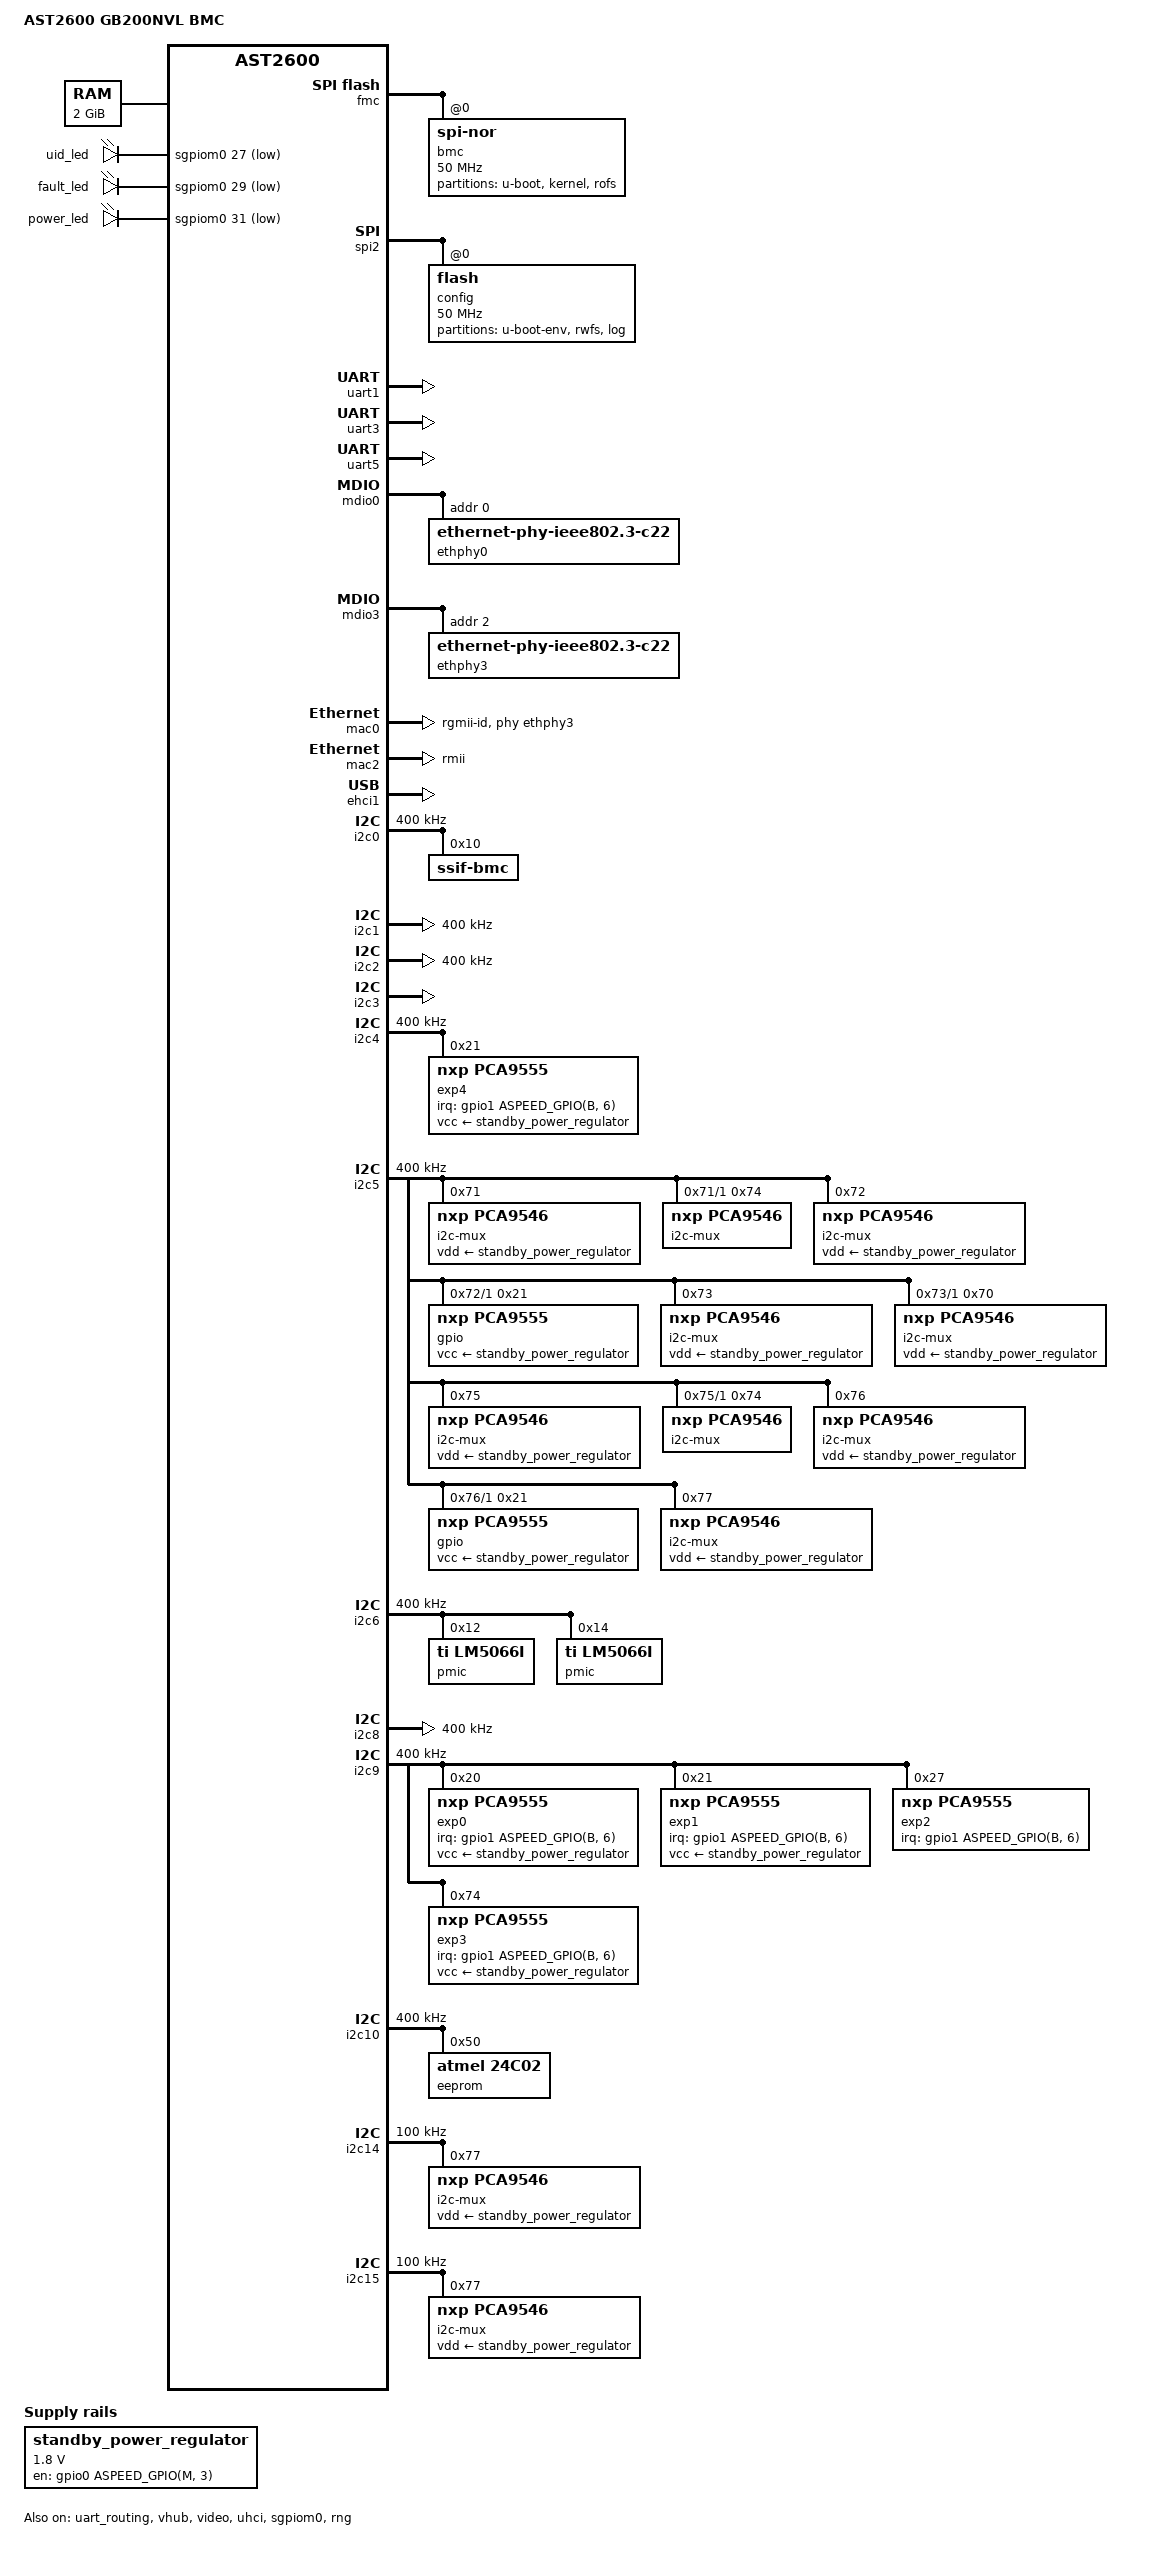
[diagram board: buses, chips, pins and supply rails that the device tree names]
// SPDX-License-Identifier: GPL-2.0+
/dts-v1/;

#include "aspeed-g6.dtsi"
#include <dt-bindings/i2c/i2c.h>
#include <dt-bindings/gpio/aspeed-gpio.h>
#include <dt-bindings/leds/common.h>

/ {
	model = "AST2600 GB200NVL BMC";
	compatible = "nvidia,gb200nvl-bmc", "aspeed,ast2600";

	aliases {
		serial2 = &uart3;
		serial4 = &uart5;
		i2c16   = &imux16;
		i2c17   = &imux17;
		i2c18   = &imux18;
		i2c19   = &imux19;
		i2c20   = &imux20;
		i2c21   = &imux21;
		i2c22   = &imux22;
		i2c23   = &imux23;
		i2c24   = &imux24;
		i2c25   = &imux25;
		i2c26   = &imux26;
		i2c27   = &imux27;
		i2c28   = &imux28;
		i2c29   = &imux29;
		i2c30   = &imux30;
		i2c31   = &imux31;
		i2c32   = &imux32;
		i2c33   = &imux33;
		i2c34   = &imux34;
		i2c35   = &imux35;
		i2c36   = &imux36;
		i2c37   = &imux37;
		i2c38   = &imux38;
		i2c39   = &imux39;
		i2c40	= &e1si2c0;
		i2c41	= &e1si2c1;
		i2c42	= &e1si2c2;
		i2c43	= &e1si2c3;
		i2c44	= &e1si2c4;
		i2c45	= &e1si2c5;
		i2c46	= &e1si2c6;
		i2c47	= &e1si2c7;
		i2c48	= &i2c17mux0;
		i2c49	= &i2c17mux1;
		i2c50	= &i2c17mux2;
		i2c51	= &i2c17mux3;
		i2c52	= &i2c25mux0;
		i2c53	= &i2c25mux1;
		i2c54	= &i2c25mux2;
		i2c55	= &i2c25mux3;
		i2c56	= &i2c29mux0;
		i2c57	= &i2c29mux1;
		i2c58	= &i2c29mux2;
		i2c59	= &i2c29mux3;
	};

	chosen {
		stdout-path = &uart5;
	};

	memory@80000000 {
		device_type = "memory";
		reg = <0x80000000 0x80000000>;
	};

	reserved-memory {
		#address-cells = <1>;
		#size-cells = <1>;
		ranges;

		vga_memory: framebuffer@9f000000 {
			no-map;
			reg = <0x9f000000 0x01000000>; /* 16M */
		};

		ramoops@a0000000 {
			compatible = "ramoops";
			reg = <0xa0000000 0x100000>; /* 1MB */
			record-size = <0x10000>; /* 64KB */
			max-reason = <2>; /* KMSG_DUMP_OOPS */
		};

		gfx_memory: framebuffer {
			size = <0x01000000>;
			alignment = <0x01000000>;
			compatible = "shared-dma-pool";
			reusable;
		};

		video_engine_memory: jpegbuffer {
			size = <0x02000000>;	/* 32M */
			alignment = <0x01000000>;
			compatible = "shared-dma-pool";
			reusable;
		};
	};

	leds {
		compatible = "gpio-leds";
		led-0 {
			label = "uid_led";
			gpios = <&sgpiom0 27 GPIO_ACTIVE_LOW>;
		};
		led-1 {
			label = "fault_led";
			gpios = <&sgpiom0 29 GPIO_ACTIVE_LOW>;
		};
		led-2 {
			label = "power_led";
			gpios = <&sgpiom0 31 GPIO_ACTIVE_LOW>;
		};
	};

	buttons {
		button-power {
			label = "power-btn";
			gpio = <&sgpiom0 156 GPIO_ACTIVE_LOW>;
		};
		button-uid {
			label = "uid-btn";
			gpio = <&sgpiom0 154 GPIO_ACTIVE_LOW>;
		};
	};

	standby_power_regulator: standby-power-regulator {
		status = "okay";
		compatible = "regulator-fixed";
		regulator-name = "standby_power";
		gpio = <&gpio0 ASPEED_GPIO(M, 3) GPIO_ACTIVE_HIGH>;
		regulator-min-microvolt = <1800000>;
		regulator-max-microvolt = <1800000>;
		enable-active-high;
		regulator-always-on;
	};
};

// Enable Primary flash on FMC for bring up activity
&fmc {
	status = "okay";
	flash@0 {
		status = "okay";
		compatible = "jedec,spi-nor";
		label = "bmc";
		spi-max-frequency = <50000000>;
		partitions {
			compatible = "fixed-partitions";
			#address-cells = <1>;
			#size-cells = <1>;

			u-boot@0 {
				// 896KB
				reg = <0x0 0xe0000>;
				label = "u-boot";
			};

			kernel@100000 {
				// 9MB
				reg = <0x100000 0x900000>;
				label = "kernel";
			};

			rofs@a00000 {
				// 55292KB (extends to end of 64MB SPI - 4KB)
				reg = <0xa00000 0x35FF000>;
				label = "rofs";
			};
		};
	};
};

&spi2 {
	status = "okay";
	pinctrl-names = "default";
	pinctrl-0 = <&pinctrl_spi2_default>;

	// Data SPI is 64MB in size
	flash@0 {
		status = "okay";
		label = "config";
		spi-max-frequency = <50000000>;
		partitions {
			compatible = "fixed-partitions";
			#address-cells = <1>;
			#size-cells = <1>;

			u-boot-env@0 {
				// 256KB
				reg = <0x0 0x40000>;
				label = "u-boot-env";
			};

			rwfs@40000 {
				// 16MB
				reg = <0x40000 0x1000000>;
				label = "rwfs";
			};

			log@1040000 {
				// 40MB
				reg = <0x1040000 0x2800000>;
				label = "log";
			};
		};
	};
};

&uart1 {
	status = "okay";
};

&uart3 {
	// Enabling SOL
	status = "okay";
};

&uart5 {
	// BMC Debug Console
	status = "okay";
};

&uart_routing {
	status = "okay";
};

&mdio0 {
	status = "okay";
	ethphy0: ethernet-phy@0 {
		compatible = "ethernet-phy-ieee802.3-c22";
		reg = <0>;
	};
};

&mdio3 {
	status = "okay";
	ethphy3: ethernet-phy@2 {
		compatible = "ethernet-phy-ieee802.3-c22";
		reg = <2>;
	};
};

&mac0 {
	status = "okay";
	pinctrl-names = "default";
	phy-mode = "rgmii-id";
	phy-handle = <&ethphy3>;
	pinctrl-0 = <&pinctrl_rgmii1_default>;
};

&mac2 {
	status = "okay";
	phy-mode = "rmii";
	use-ncsi;
	pinctrl-names = "default";
	pinctrl-0 = <&pinctrl_rmii3_default>;
};

/*
 * Enable USB port A as device (via the virtual hub) to host
 */
&vhub {
	status = "okay";
};

&video {
	status = "okay";
	memory-region = <&video_engine_memory>;
};

// USB 2.0 to HMC, on USB Port B
&ehci1 {
	status = "okay";
};

// USB 1.0
&uhci {
	status = "okay";
};

&sgpiom0 {
	status = "okay";
	ngpios = <128>;
	gpio-line-names =
		"","",
		"","",
		"","",
		"","",
		"","",
		"","",
		"","",
		"","",
		"RUN_POWER_FAULT_L-I","SYS_RST_IN_L-O",
		"RUN_POWER_PG-I","PWR_BRAKE_L-O",
		"SYS_RST_OUT_L-I","RUN_POWER_EN-O",
		"L0L1_RST_REQ_OUT_L-I","SHDN_FORCE_L-O",
		"L2_RST_REQ_OUT_L-I","SHDN_REQ_L-O",
		"SHDN_OK_L-I","UID_LED_N-O",
		"BMC_I2C1_FPGA_ALERT_L-I","SYS_FAULT_LED_N-O",
		"BMC_I2C0_FPGA_ALERT_L-I","PWR_LED_N-O",
		"FPGA_RSVD_FFU3-I","",
		"FPGA_RSVD_FFU2-I","",
		"FPGA_RSVD_FFU1-I","",
		"FPGA_RSVD_FFU0-I","BMC_I2C_SSIF_ALERT_L-O",
		"CPU_BOOT_DONE-I","JTAG_MUX_SELECT-O",
		"SPI_BMC_FPGA_INT_L-I","RTC_CLR_L-O",
		"THERM_BB_WARN_L-I","UART_MUX_SEL-O",
		"THERM_BB_OVERT_L-I","",
		"CPU0_UPHY3_PRSNT1_L-I","IOBRD0_RUN_POWER_EN-O",
		"CPU0_UPHY3_PRSNT0_L-I","IOBRD1_RUN_POWER_EN-O",
		"CPU0_UPHY2_PRSNT1_L-I","FPGA_RSVD_FFU4-O",
		"CPU0_UPHY2_PRSNT0_L-I","FPGA_RSVD_FFU5-O",
		"CPU0_UPHY1_PRSNT1_L-I","FPGA_RSVD_FFU6-O",
		"CPU0_UPHY1_PRSNT0_L-I","FPGA_RSVD_FFU7-O",
		"CPU0_UPHY0_PRSNT1_L-I","RSVD_NV_PLT_DETECT-O",
		"CPU0_UPHY0_PRSNT0_L-I","SPI1_INT_L-O",
		"CPU1_UPHY3_PRSNT1_L-I","",
		"CPU1_UPHY3_PRSNT0_L-I","HMC_EROT_MUX_STATUS",
		"CPU1_UPHY2_PRSNT1_L-I","",
		"CPU1_UPHY2_PRSNT0_L-I","",
		"CPU1_UPHY1_PRSNT1_L-I","",
		"CPU1_UPHY1_PRSNT0_L-I","",
		"CPU1_UPHY0_PRSNT1_L-I","",
		"CPU1_UPHY0_PRSNT0_L-I","",
		"FAN1_PRESENT_L-I","",
		"FAN0_PRESENT_L-I","",
		"","",
		"IPEX_CABLE_PRSNT_L-I","",
		"M2_1_PRSNT_L-I","",
		"M2_0_PRSNT_L-I","",
		"CPU1_UPHY4_PRSNT1_L-I","",
		"CPU0_UPHY4_PRSNT0_L-I","",
		"","",
		"I2C_RTC_ALERT_L-I","",
		"FAN7_PRESENT_L-I","",
		"FAN6_PRESENT_L-I","",
		"FAN5_PRESENT_L-I","",
		"FAN4_PRESENT_L-I","",
		"FAN3_PRESENT_L-I","",
		"FAN2_PRESENT_L-I","",
		"IOBRD0_IOX_INT_L-I","",
		"IOBRD1_PRSNT_L-I","",
		"IOBRD0_PRSNT_L-I","",
		"IOBRD1_PWR_GOOD-I","",
		"IOBRD0_PWR_GOOD-I","",
		"","",
		"","",
		"FAN_FAIL_IN_L-I","",
		"","",
		"","",
		"","",
		"PDB_CABLE_PRESENT_L-I","",
		"","",
		"CHASSIS_PWR_BRK_L-I","",
		"","",
		"IOBRD1_IOX_INT_L-I","",
		"10GBE_SMBALRT_L-I","",
		"PCIE_WAKE_L-I","",
		"I2C_M21_ALERT_L-I","",
		"I2C_M20_ALERT_L-I","",
		"TRAY_FAST_SHDN_L-I","",
		"UID_BTN_N-I","",
		"PWR_BTN_L-I","",
		"PSU_SMB_ALERT_L-I","",
		"","",
		"","",
		"NODE_LOC_ID[0]-I","",
		"NODE_LOC_ID[1]-I","",
		"NODE_LOC_ID[2]-I","",
		"NODE_LOC_ID[3]-I","",
		"NODE_LOC_ID[4]-I","",
		"NODE_LOC_ID[5]-I","",
		"FAN10_PRESENT_L-I","",
		"FAN9_PRESENT_L-I","",
		"FAN8_PRESENT_L-I","",
		"FPGA1_READY_HMC-I","",
		"DP_HPD-I","",
		"HMC_I2C3_FPGA_ALERT_L-I","",
		"HMC_I2C2_FPGA_ALERT_L-I","",
		"FPGA0_READY_HMC-I","",
		"","",
		"","",
		"","",
		"","",
		"LEAK_DETECT_ALERT_L-I","",
		"MOD1_B2B_CABLE_PRESENT_L-I","",
		"MOD1_CLINK_CABLE_PRESENT_L-I","",
		"FAN11_PRESENT_L-I","",
		"","",
		"","",
		"","",
		"","",
		"","",
		"","",
		"","",
		"","",
		"","",
		"","",
		"","",
		"","",
		"","",
		"","",
		"","",
		"","",
		"RSVD_SGPIO_IN_CRC[0]","RSVD_SGPIO_O_CRC[7]",
		"RSVD_SGPIO_IN_CRC[1]","RSVD_SGPIO_O_CRC[6]",
		"RSVD_SGPIO_IN_CRC[2]","RSVD_SGPIO_O_CRC[5]",
		"RSVD_SGPIO_IN_CRC[3]","RSVD_SGPIO_O_CRC[4]",
		"RSVD_SGPIO_IN_CRC[4]","RSVD_SGPIO_O_CRC[3]",
		"RSVD_SGPIO_IN_CRC[5]","RSVD_SGPIO_O_CRC[2]",
		"RSVD_SGPIO_IN_CRC[6]","RSVD_SGPIO_O_CRC[1]",
		"RSVD_SGPIO_IN_CRC[7]","RSVD_SGPIO_O_CRC[0]";
};

// I2C1, SSIF IPMI interface
&i2c0 {
	status = "okay";
	clock-frequency = <400000>;

	ssif-bmc@10 {
		compatible = "ssif-bmc";
		reg = <0x10>;
	};
};

// I2C2
// BMC_I2C1_FPGA - Secondary FPGA
// HMC EROT
&i2c1 {
	status = "okay";
	clock-frequency = <400000>;
	multi-master;
};

// I2C3
// BMC_I2C0_FPGA - Primary FPGA
// HMC FRU EEPROM
&i2c2 {
	status = "okay";
	clock-frequency = <400000>;
	multi-master;
};

// I2C4
&i2c3 {
	status = "okay";
};

// I2C5
// RTC Driver
// IO Expander
&i2c4 {
	status = "okay";
	clock-frequency = <400000>;

	// Module 0, Expander @0x21
	exp4: gpio@21 {
		compatible = "nxp,pca9555";
		reg = <0x21>;
		gpio-controller;
		#gpio-cells = <2>;
		interrupt-controller;
		#interrupt-cells = <2>;
		interrupt-parent = <&gpio1>;
		interrupts = <ASPEED_GPIO(B, 6) IRQ_TYPE_LEVEL_LOW>;
		vcc-supply = <&standby_power_regulator>;
		gpio-line-names =
			"RTC_MUX_SEL-O",
			"PCI_MUX_SEL-O",
			"TPM_MUX_SEL-O",
			"FAN_MUX-SEL-O",
			"SGMII_MUX_SEL-O",
			"DP_MUX_SEL-O",
			"UPHY3_USB_SEL-O",
			"NCSI_MUX_SEL-O",
			"BMC_PHY_RST-O",
			"RTC_CLR_L-O",
			"BMC_12V_CTRL-O",
			"PS_RUN_IO0_PG-I",
			"",
			"",
			"",
			"";
	};
};

// I2C6
// Module 0/1 I2C MUX x3
&i2c5 {
	status = "okay";
	clock-frequency = <400000>;
	multi-master;

	i2c-mux@71 {
		compatible = "nxp,pca9546";
		#address-cells = <1>;
		#size-cells = <0>;
		reg = <0x71>;
		i2c-mux-idle-disconnect;
		vdd-supply = <&standby_power_regulator>;

		imux16: i2c@0 {
			#address-cells = <1>;
			#size-cells = <0>;
			reg = <0>;
		};

		imux17: i2c@1 {
			#address-cells = <1>;
			#size-cells = <0>;
			reg = <1>;

			i2c-mux@74 {
				compatible = "nxp,pca9546";
				#address-cells = <1>;
				#size-cells = <0>;
				reg = <0x74>;
				i2c-mux-idle-disconnect;

				i2c17mux0: i2c@0 {
					#address-cells = <1>;
					#size-cells = <0>;
					reg = <0>;
				};

				i2c17mux1: i2c@1 {
					#address-cells = <1>;
					#size-cells = <0>;
					reg = <1>;
				};

				i2c17mux2: i2c@2 {
					#address-cells = <1>;
					#size-cells = <0>;
					reg = <2>;
				};

				i2c17mux3: i2c@3 {
					#address-cells = <1>;
					#size-cells = <0>;
					reg = <3>;
				};
			};
		};

		imux18: i2c@2 {
			#address-cells = <1>;
			#size-cells = <0>;
			reg = <2>;
		};

		imux19: i2c@3 {
			#address-cells = <1>;
			#size-cells = <0>;
			reg = <3>;
		};
	};

	i2c-mux@72 {
		compatible = "nxp,pca9546";
		#address-cells = <1>;
		#size-cells = <0>;
		reg = <0x72>;
		i2c-mux-idle-disconnect;
		vdd-supply = <&standby_power_regulator>;

		imux20: i2c@0 {
			#address-cells = <1>;
			#size-cells = <0>;
			reg = <0>;
		};

		imux21: i2c@1 {
			#address-cells = <1>;
			#size-cells = <0>;
			reg = <1>;

			gpio@21 {
				compatible = "nxp,pca9555";
				reg = <0x21>;
				gpio-controller;
				#gpio-cells = <2>;
				vcc-supply = <&standby_power_regulator>;
				gpio-line-names =
					"RST_CX_0_L-O",
					"RST_CX_1_L-O",
					"CX0_SSD0_PRSNT_L-I",
					"CX1_SSD1_PRSNT_L-I",
					"CX_BOOT_CMPLT_CX0-I",
					"CX_BOOT_CMPLT_CX1-I",
					"CX_TWARN_CX0_L-I",
					"CX_TWARN_CX1_L-I",
					"CX_OVT_SHDN_CX0-I",
					"CX_OVT_SHDN_CX1-I",
					"FNP_L_CX0-O",
					"FNP_L_CX1-O",
					"",
					"MCU_GPIO-I",
					"MCU_RST_N-O",
					"MCU_RECOVERY_N-O";
			};
		};

		imux22: i2c@2 {
			#address-cells = <1>;
			#size-cells = <0>;
			reg = <2>;
		};

		imux23: i2c@3 {
			#address-cells = <1>;
			#size-cells = <0>;
			reg = <3>;
		};
	};

	i2c-mux@73 {
		compatible = "nxp,pca9546";
		#address-cells = <1>;
		#size-cells = <0>;
		reg = <0x73>;
		i2c-mux-idle-disconnect;
		vdd-supply = <&standby_power_regulator>;

		imux24: i2c@0 {
			#address-cells = <1>;
			#size-cells = <0>;
			reg = <0>;
		};

		imux25: i2c@1 {
			#address-cells = <1>;
			#size-cells = <0>;
			reg = <1>;

			i2c-mux@70 {
				compatible = "nxp,pca9546";
				#address-cells = <1>;
				#size-cells = <0>;
				reg = <0x70>;
				i2c-mux-idle-disconnect;
				vdd-supply = <&standby_power_regulator>;

				i2c25mux0: i2c@0 {
					#address-cells = <1>;
					#size-cells = <0>;
					reg = <0>;
				};

				i2c25mux1: i2c@1 {
					#address-cells = <1>;
					#size-cells = <0>;
					reg = <1>;
				};

				i2c25mux2: i2c@2 {
					#address-cells = <1>;
					#size-cells = <0>;
					reg = <2>;
				};

				i2c25mux3: i2c@3 {
					#address-cells = <1>;
					#size-cells = <0>;
					reg = <3>;
				};
			};
		};

		imux26: i2c@2 {
			#address-cells = <1>;
			#size-cells = <0>;
			reg = <2>;
		};

		imux27: i2c@3 {
			#address-cells = <1>;
			#size-cells = <0>;
			reg = <3>;
		};
	};

	i2c-mux@75 {
		compatible = "nxp,pca9546";
		#address-cells = <1>;
		#size-cells = <0>;
		reg = <0x75>;
		i2c-mux-idle-disconnect;
		vdd-supply = <&standby_power_regulator>;

		imux28: i2c@0 {
			#address-cells = <1>;
			#size-cells = <0>;
			reg = <0>;
		};

		imux29: i2c@1 {
			#address-cells = <1>;
			#size-cells = <0>;
			reg = <1>;

			i2c-mux@74 {
				compatible = "nxp,pca9546";
				#address-cells = <1>;
				#size-cells = <0>;
				reg = <0x74>;
				i2c-mux-idle-disconnect;

				i2c29mux0: i2c@0 {
					#address-cells = <1>;
					#size-cells = <0>;
					reg = <0>;
				};

				i2c29mux1: i2c@1 {
					#address-cells = <1>;
					#size-cells = <0>;
					reg = <1>;
				};

				i2c29mux2: i2c@2 {
					#address-cells = <1>;
					#size-cells = <0>;
					reg = <2>;
				};

				i2c29mux3: i2c@3 {
					#address-cells = <1>;
					#size-cells = <0>;
					reg = <3>;
				};
			};
		};

		imux30: i2c@2 {
			#address-cells = <1>;
			#size-cells = <0>;
			reg = <2>;
		};

		imux31: i2c@3 {
			#address-cells = <1>;
			#size-cells = <0>;
			reg = <3>;
		};
	};

	i2c-mux@76 {
		compatible = "nxp,pca9546";
		#address-cells = <1>;
		#size-cells = <0>;
		reg = <0x76>;
		i2c-mux-idle-disconnect;
		vdd-supply = <&standby_power_regulator>;

		imux32: i2c@0 {
			#address-cells = <1>;
			#size-cells = <0>;
			reg = <0>;
		};

		imux33: i2c@1 {
			#address-cells = <1>;
			#size-cells = <0>;
			reg = <1>;

			gpio@21 {
				compatible = "nxp,pca9555";
				reg = <0x21>;
				gpio-controller;
				#gpio-cells = <2>;
				vcc-supply = <&standby_power_regulator>;
				gpio-line-names =
					"SEC_RST_CX_0_L-O",
					"SEC_RST_CX_1_L-O",
					"SEC_CX0_SSD0_PRSNT_L-I",
					"SEC_CX1_SSD1_PRSNT_L-I",
					"SEC_CX_BOOT_CMPLT_CX0-I",
					"SEC_CX_BOOT_CMPLT_CX1-I",
					"SEC_CX_TWARN_CX0_L-I",
					"SEC_CX_TWARN_CX1_L-I",
					"SEC_CX_OVT_SHDN_CX0-I",
					"SEC_CX_OVT_SHDN_CX1-I",
					"SEC_FNP_L_CX0-O",
					"SEC_FNP_L_CX1-O",
					"",
					"SEC_MCU_GPIO-I",
					"SEC_MCU_RST_N-O",
					"SEC_MCU_RECOVERY_N-O";
				};
		};

		imux34: i2c@2 {
			#address-cells = <1>;
			#size-cells = <0>;
			reg = <2>;
		};

		imux35: i2c@3 {
			#address-cells = <1>;
			#size-cells = <0>;
			reg = <3>;
		};
	};

	i2c-mux@77 {
		compatible = "nxp,pca9546";
		#address-cells = <1>;
		#size-cells = <0>;
		reg = <0x77>;
		i2c-mux-idle-disconnect;
		vdd-supply = <&standby_power_regulator>;

		imux36: i2c@0 {
			#address-cells = <1>;
			#size-cells = <0>;
			reg = <0>;
		};

		imux37: i2c@1 {
			#address-cells = <1>;
			#size-cells = <0>;
			reg = <1>;
		};

		imux38: i2c@2 {
			#address-cells = <1>;
			#size-cells = <0>;
			reg = <2>;
		};

		imux39: i2c@3 {
			#address-cells = <1>;
			#size-cells = <0>;
			reg = <3>;
		};
	};
};

// I2C7
// Module 0/1 Leak Sensors
// Module 0/1 Fan Controllers
&i2c6 {
	status = "okay";
	clock-frequency = <400000>;

	pmic@12 {
		compatible = "ti,lm5066i";
		reg = <0x12>;
		shunt-resistor-micro-ohms = <190>;
		status = "okay";
	};

	pmic@14 {
		compatible = "ti,lm5066i";
		reg = <0x14>;
		shunt-resistor-micro-ohms = <190>;
		status = "okay";
	};

	pwm@20 {
		compatible = "maxim,max31790";
		reg = <0x20>;
	};

	pwm@23 {
		compatible = "maxim,max31790";
		reg = <0x23>;
	};

	pwm@2c {
		compatible = "maxim,max31790";
		reg = <0x2c>;
	};

	pwm@2f {
		compatible = "maxim,max31790";
		reg = <0x2f>;
	};
};

// I2C9
// M.2
&i2c8 {
	status = "okay";
	clock-frequency = <400000>;
	multi-master;
};

// I2C10
// HMC IO Expander
// Module 0/1 IO Expanders
&i2c9 {
	status = "okay";
	clock-frequency = <400000>;

	// Module 0, Expander @0x20
	exp0: gpio@20 {
		compatible = "nxp,pca9555";
		reg = <0x20>;
		gpio-controller;
		#gpio-cells = <2>;
		interrupt-controller;
		#interrupt-cells = <2>;
		interrupt-parent = <&gpio1>;
		interrupts = <ASPEED_GPIO(B, 6) IRQ_TYPE_LEVEL_LOW>;
		vcc-supply = <&standby_power_regulator>;
		gpio-line-names =
			"FPGA_THERM_OVERT_L-I",
			"FPGA_READY_BMC-I",
			"HMC_BMC_DETECT-O",
			"HMC_PGOOD-O",
			"",
			"BMC_STBY_CYCLE-O",
			"FPGA_EROT_FATAL_ERROR_L-I",
			"WP_HW_EXT_CTRL_L-O",
			"EROT_FPGA_RST_L-O",
			"FPGA_EROT_RECOVERY_L-O",
			"BMC_EROT_FPGA_SPI_MUX_SEL-O",
			"USB_HUB_RESET_L-O",
			"NCSI_CS1_SEL-O",
			"SGPIO_EN_L-O",
			"B2B_IOEXP_INT_L-I",
			"I2C_BUS_MUX_RESET_L-O";
	};

	// Module 1, Expander @0x21
	exp1: gpio@21 {
		compatible = "nxp,pca9555";
		reg = <0x21>;
		gpio-controller;
		#gpio-cells = <2>;
		interrupt-controller;
		#interrupt-cells = <2>;
		interrupt-parent = <&gpio1>;
		interrupts = <ASPEED_GPIO(B, 6) IRQ_TYPE_LEVEL_LOW>;
		vcc-supply = <&standby_power_regulator>;
		gpio-line-names =
			"SEC_FPGA_THERM_OVERT_L-I",
			"SEC_FPGA_READY_BMC-I",
			"",
			"",
			"",
			"",
			"SEC_FPGA_EROT_FATAL_ERROR_L-I",
			"SEC_WP_HW_EXT_CTRL_L-O",
			"SEC_EROT_FPGA_RST_L-O",
			"SEC_FPGA_EROT_RECOVERY_L-O",
			"SEC_BMC_EROT_FPGA_SPI_MUX_SEL-O",
			"SEC_USB2_HUB_RST_L-O",
			"",
			"",
			"",
			"SEC_I2C_BUS_MUX_RESET_L-O";
	};

	// HMC Expander @0x27
	exp2: gpio@27 {
		compatible = "nxp,pca9555";
		reg = <0x27>;
		gpio-controller;
		#gpio-cells = <2>;
		interrupt-controller;
		#interrupt-cells = <2>;
		interrupt-parent = <&gpio1>;
		interrupts = <ASPEED_GPIO(B, 6) IRQ_TYPE_LEVEL_LOW>;
		gpio-line-names =
			"HMC_PRSNT_L-I",
			"HMC_READY-I",
			"HMC_EROT_FATAL_ERROR_L-I",
			"I2C_MUX_SEL-O",
			"HMC_EROT_SPI_MUX_SEL-O",
			"HMC_EROT_RECOVERY_L-O",
			"HMC_EROT_RST_L-O",
			"GLOBAL_WP_HMC-O",
			"FPGA_RST_L-O",
			"USB2_HUB_RST-O",
			"CPU_UART_MUX_SEL-O",
			"",
			"",
			"",
			"",
			"";
	};

	// HMC Expander @0x74
	exp3: gpio@74 {
		compatible = "nxp,pca9555";
		reg = <0x74>;
		gpio-controller;
		#gpio-cells = <2>;
		interrupt-controller;
		#interrupt-cells = <2>;
		interrupt-parent = <&gpio1>;
		interrupts = <ASPEED_GPIO(B, 6) IRQ_TYPE_LEVEL_LOW>;
		vcc-supply = <&standby_power_regulator>;
		gpio-line-names =
			"IOB_PRSNT_L",
			"IOB_DP_HPD",
			"IOX_BMC_RESET",
			"IOB_IOEXP_INT_L",
			"IOB_UID_LED_L",
			"IOB_UID_BTN_L",
			"IOB_SYS_RST_BTN_L",
			"IOB_PWR_LED_L",
			"IOB_PWR_BTN_L",
			"IOB_PHY_RST",
			"CPLD_JTAG_MUX_SEL",
			"",
			"",
			"",
			"",
			"";
	};
};

// I2C11
// BMC FRU EEPROM
// BMC Temp Sensor
&i2c10 {
	status = "okay";
	clock-frequency = <400000>;

	// BMC FRU EEPROM - 256 bytes
	eeprom@50 {
		compatible = "atmel,24c02";
		reg = <0x50>;
		pagesize = <8>;
	};
};

// I2C12
&i2c11 {
	status = "disabled";
};

// I2C13
&i2c12 {
	status = "disabled";
};

// I2C14
// Module 0 UPHY3 SMBus
&i2c13 {
	status = "disabled";
};

// I2C15
// Module 1 UPHY3 SMBus
&i2c14 {
	status = "okay";
	clock-frequency = <100000>;
	multi-master;

	//E1.S drive slot 0-3
	i2c-mux@77 {
		compatible = "nxp,pca9546";
		#address-cells = <1>;
		#size-cells = <0>;
		reg = <0x77>;
		i2c-mux-idle-disconnect;
		vdd-supply = <&standby_power_regulator>;

		e1si2c0: i2c@0 {
			#address-cells = <1>;
			#size-cells = <0>;
			reg = <0>;
		};

		e1si2c1: i2c@1 {
			#address-cells = <1>;
			#size-cells = <0>;
			reg = <1>;
		};

		e1si2c2: i2c@2 {
			#address-cells = <1>;
			#size-cells = <0>;
			reg = <2>;
		};

		e1si2c3: i2c@3 {
			#address-cells = <1>;
			#size-cells = <0>;
			reg = <3>;
		};
	};
};

// I2C16
&i2c15 {
	status = "okay";
	clock-frequency = <100000>;
	multi-master;

	//E1.S drive slot 4-7
	i2c-mux@77 {
		compatible = "nxp,pca9546";
		#address-cells = <1>;
		#size-cells = <0>;
		reg = <0x77>;
		i2c-mux-idle-disconnect;
		vdd-supply = <&standby_power_regulator>;

		e1si2c4: i2c@0 {
			#address-cells = <1>;
			#size-cells = <0>;
			reg = <0>;
		};

		e1si2c5: i2c@1 {
			#address-cells = <1>;
			#size-cells = <0>;
			reg = <1>;
		};

		e1si2c6: i2c@2 {
			#address-cells = <1>;
			#size-cells = <0>;
			reg = <2>;
		};

		e1si2c7: i2c@3 {
			#address-cells = <1>;
			#size-cells = <0>;
			reg = <3>;
		};
	};
};

&rng {
	status = "okay";
};

&gpio0 {
	gpio-line-names =
		/*A0-A7*/ "", "", "", "", "", "", "", "",
		/*B0-B7*/ "", "", "", "", "", "", "", "",
		/*C0-C7*/ "SGPIO_I2C_MUX_SEL-O", "", "", "", "", "", "", "",
		/*D0-D7*/ "", "", "", "UART1_MUX_SEL-O", "", "FPGA_PEX_RST_L-O", "", "",
		/*E0-E7*/ "RTL8221_PHY_RST_L-O", "RTL8211_PHY_INT_L-I",	"", "UART3_MUX_SEL-O",
					"", "", "", "SGPIO_BMC_EN-O",
		/*F0-F7*/ "", "", "", "", "", "", "", "",
		/*G0-G7*/ "", "", "", "", "", "", "", "",
		/*H0-H7*/ "", "", "", "", "", "", "", "",
		/*I0-I7*/ "", "", "", "", "", "QSPI2_RST_L-O", "GLOBAL_WP_BMC-O", "BMC_DDR4_TEN-O",
		/*J0-J7*/ "", "", "", "", "", "", "", "",
		/*K0-K7*/ "", "", "", "", "", "", "", "",
		/*L0-L7*/ "", "", "", "", "", "", "", "",
		/*M0-M7*/ "PCIE_EP_RST_EN-O", "BMC_FRU_WP-O", "FPGA_RST_L-O", "STBY_POWER_EN-O",
					"STBY_POWER_PG-I", "PCIE_EP_RST_L-O", "", "",
		/*N0-N7*/ "", "", "", "", "", "", "", "",
		/*O0-O7*/ "", "", "", "", "", "", "", "",
		/*P0-P7*/ "", "", "", "", "", "", "", "",
		/*Q0-Q7*/ "", "", "", "", "", "", "", "",
		/*R0-R7*/ "", "", "", "", "", "", "", "",
		/*S0-S7*/ "", "", "", "", "", "", "", "",
		/*T0-T7*/ "", "", "", "", "", "", "", "",
		/*U0-U7*/ "", "", "", "", "", "", "", "",
		/*V0-V7*/ "AP_EROT_REQ-O", "EROT_AP_GNT-I", "", "","PCB_TEMP_ALERT-I", "","", "",
		/*W0-W7*/ "", "", "", "", "", "", "", "",
		/*X0-X7*/ "", "", "TPM_MUX_SEL-O", "", "", "", "", "",
		/*Y0-Y7*/ "", "", "", "EMMC_RST-O", "","", "", "",
		/*Z0-Z7*/ "BMC_READY-O","", "", "", "", "", "", "";
};

&gpio1 {
	/* 36 1.8V GPIOs */
	gpio-line-names =
		/*A0-A7*/ "", "", "", "", "", "", "", "",
		/*B0-B7*/ "", "", "", "", "", "", "IO_EXPANDER_INT_L-I","",
		/*C0-C7*/ "", "", "", "", "", "", "", "",
		/*D0-D7*/ "", "", "", "", "", "", "SPI_HOST_TPM_RST_L-O", "SPI_BMC_FPGA_INT_L-I",
		/*E0-E7*/ "", "", "", "", "", "", "", "";
};
